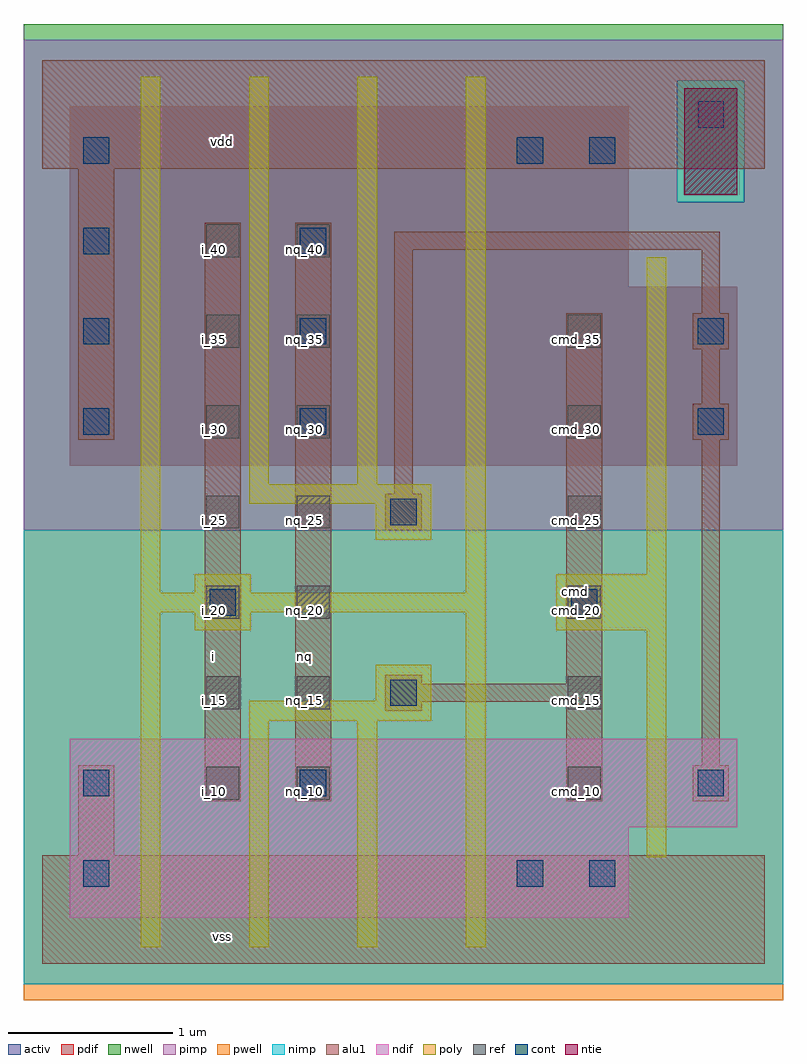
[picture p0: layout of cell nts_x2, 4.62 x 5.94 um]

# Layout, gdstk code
import gdstk
lib = gdstk.Library(unit=1e-6, precision=2.5e-09)
def R(c, l, rs):  # rectangles x0, y0, x1, y1
    for r in rs: c.add(gdstk.rectangle(r[:2], r[2:], *l))
def A(c, l, x, y, w, h, nx, ny, dx, dy):  # array of equal rectangles
    R(c, l, [(x+i*dx, y+j*dy, x+i*dx+w, y+j*dy+h) for i in range(nx) for j in range(ny)])
ndif = (3, 0)
pdif = (4, 0)
ntie = (5, 0)
ref = (24, 0)
cont = (25, 0)
pwell = (41, 0)
nwell = (42, 0)
activ = (43, 0)
pimp = (44, 0)
nimp = (45, 0)
poly = (46, 0)
alu1 = (49, 0)

nts_x2 = lib.new_cell('nts_x2')
R(nts_x2, ndif, [(0.17,0.28,3.57,0.83), (0.17,0.28,3.57,0.83), (0.17,0.83,4.23,1.37), (0.17,0.83,4.23,1.37)])
R(nts_x2, pdif, [(0.17,3.03,4.23,4.12), (0.17,3.03,4.23,4.12), (0.17,4.12,3.57,5.22), (0.17,4.12,3.57,5.22)])
R(nts_x2, ntie, [(3.91,4.68,4.23,5.33), (3.91,4.68,4.23,5.33)])
A(nts_x2, ref, 1, 1, 0.2, 0.2, 1, 7, 0, 0.55)
A(nts_x2, ref, 1.55, 1, 0.2, 0.2, 1, 7, 0, 0.55)
A(nts_x2, ref, 3.2, 1, 0.2, 0.2, 1, 6, 0, 0.55)
A(nts_x2, cont, 0.25, 3.22, 0.16, 0.16, 1, 4, 0, 0.55)
A(nts_x2, cont, 1.57, 3.22, 0.16, 0.16, 1, 3, 0, 0.55)
R(nts_x2, cont, [(0.25,0.47,0.41,0.63), (2.89,0.47,3.05,0.63), (3.33,0.47,3.49,0.63), (0.25,1.02,0.41,1.18), (1.57,1.02,1.73,1.18), (3.99,1.02,4.15,1.18), (2.12,1.57,2.28,1.73), (1.02,2.12,1.18,2.28), (3.22,2.12,3.38,2.28), (2.12,2.67,2.28,2.83), (3.99,3.22,4.15,3.38), (3.99,3.77,4.15,3.93), (2.89,4.87,3.05,5.03), (3.33,4.87,3.49,5.03), (3.99,5.09,4.15,5.25)])
R(nts_x2, pwell, [(-0.11,-0.22,4.51,2.64)])
R(nts_x2, nwell, [(-0.11,2.64,4.51,5.72)])
R(nts_x2, activ, [(0.17,0.28,3.57,0.83), (0.17,0.28,3.57,0.83), (0.17,0.83,4.23,1.37), (0.17,0.83,4.23,1.37), (0.17,3.03,4.23,4.12), (0.17,3.03,4.23,4.12), (0.17,4.12,3.57,5.22), (0.17,4.12,3.57,5.22), (3.91,4.68,4.23,5.33), (3.91,4.68,4.23,5.33)])
R(nts_x2, pimp, [(-0.11,2.64,4.51,4.635), (-0.11,4.635,3.865,5.375), (4.275,4.635,4.51,5.375), (-0.11,5.375,4.51,5.625)])
R(nts_x2, nimp, [(-0.11,-0.125,4.51,2.64), (3.865,4.635,4.275,5.375)])
R(nts_x2, poly, [(0.6,0.1,0.72,2.14), (1.26,0.1,1.38,1.48), (1.92,0.1,2.04,1.48), (2.58,0.1,2.7,2.14), (3.68,0.65,3.8,2.03), (1.26,1.48,2.37,1.6), (2.03,1.6,2.37,1.82), (0.93,2.03,1.27,2.14), (3.13,2.03,3.8,2.37), (0.6,2.14,2.7,2.26), (0.6,2.26,0.72,5.4), (0.93,2.26,1.27,2.37), (2.58,2.26,2.7,5.4), (3.68,2.37,3.8,4.3), (2.03,2.58,2.37,2.8), (1.26,2.8,2.37,2.92), (1.26,2.92,1.38,5.4), (1.92,2.92,2.04,5.4)])
R(nts_x2, alu1, [(0,0,4.4,0.66), (0.22,0.66,0.44,1.21), (0.99,0.99,1.21,4.51), (1.54,0.99,1.76,4.51), (3.19,0.99,3.41,1.595), (3.96,0.99,4.18,1.21), (4.015,1.21,4.125,3.19), (2.09,1.54,2.31,1.595), (2.09,1.595,3.41,1.705), (2.09,1.705,2.31,1.76), (3.19,1.705,3.41,3.96), (2.09,2.64,2.31,2.86), (2.145,2.86,2.255,4.345), (0.22,3.19,0.44,4.84), (3.96,3.19,4.18,3.41), (4.015,3.41,4.125,3.74), (3.96,3.74,4.18,3.96), (4.015,3.96,4.125,4.345), (2.145,4.345,4.125,4.455), (0,4.84,4.4,5.5)])
nts_x2.add(gdstk.Label('vss', (1.1,0.165), layer=49, texttype=0))
nts_x2.add(gdstk.Label('cmd', (3.245,2.2675), layer=49, texttype=0))
nts_x2.add(gdstk.Label('nq', (1.595,1.87), layer=49, texttype=0))
nts_x2.add(gdstk.Label('i', (1.045,1.87), layer=49, texttype=0))
nts_x2.add(gdstk.Label('vdd', (1.1,5.005), layer=49, texttype=0))
nts_x2.add(gdstk.Label('i_40', (1.05,4.35), layer=24, texttype=0))
nts_x2.add(gdstk.Label('i_35', (1.05,3.8), layer=24, texttype=0))
nts_x2.add(gdstk.Label('i_30', (1.05,3.25), layer=24, texttype=0))
nts_x2.add(gdstk.Label('i_25', (1.05,2.7), layer=24, texttype=0))
nts_x2.add(gdstk.Label('i_20', (1.05,2.15), layer=24, texttype=0))
nts_x2.add(gdstk.Label('i_15', (1.05,1.6), layer=24, texttype=0))
nts_x2.add(gdstk.Label('i_10', (1.05,1.05), layer=24, texttype=0))
nts_x2.add(gdstk.Label('nq_40', (1.6,4.35), layer=24, texttype=0))
nts_x2.add(gdstk.Label('nq_35', (1.6,3.8), layer=24, texttype=0))
nts_x2.add(gdstk.Label('nq_30', (1.6,3.25), layer=24, texttype=0))
nts_x2.add(gdstk.Label('nq_25', (1.6,2.7), layer=24, texttype=0))
nts_x2.add(gdstk.Label('nq_20', (1.6,2.15), layer=24, texttype=0))
nts_x2.add(gdstk.Label('nq_15', (1.6,1.6), layer=24, texttype=0))
nts_x2.add(gdstk.Label('nq_10', (1.6,1.05), layer=24, texttype=0))
nts_x2.add(gdstk.Label('cmd_20', (3.25,2.15), layer=24, texttype=0))
nts_x2.add(gdstk.Label('cmd_15', (3.25,1.6), layer=24, texttype=0))
nts_x2.add(gdstk.Label('cmd_10', (3.25,1.05), layer=24, texttype=0))
nts_x2.add(gdstk.Label('cmd_25', (3.25,2.7), layer=24, texttype=0))
nts_x2.add(gdstk.Label('cmd_30', (3.25,3.25), layer=24, texttype=0))
nts_x2.add(gdstk.Label('cmd_35', (3.25,3.8), layer=24, texttype=0))

lib.write_gds('nts_x2.gds')
